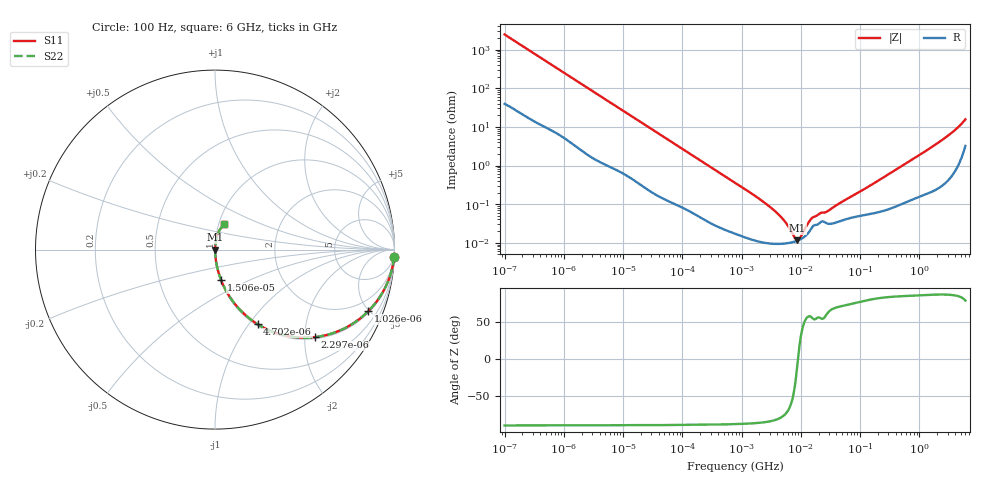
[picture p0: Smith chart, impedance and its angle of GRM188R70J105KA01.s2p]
!Murata Part Number: GRM188R70J105KA01
!These Parameters are Measured in Series Mode Connection
!Data Generated on Mar 30, 2021
!  o--ll--o
!Port1  Port2
!  o------o
!Operation Temp=25[degC], DC Bias Voltage=0[V]
!Freq. Start=100[Hz] Stop=6[GHz] 401[Steps]
# Hz S RI R 50
!Freq.(Hz) S11(Real) S11(Imag) S21(Real) S21(Imag) S12(Real) S12(Imag) S22(Real) S22(Imag)
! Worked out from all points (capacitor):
!   401 points, 100 Hz to 6 GHz, reference 50 ohm
!   read as one part in series: C = 641 nF near 109 Hz
!   lowest |Z| = 11.5 mohm at 8.692 MHz (marker M1)
!   series resonance near 8.963 MHz, so ESL is about 490 pH
!   S11 on the Smith chart (normalised r, x): 100 Hz: 2, -49; 1.026 kHz: 1.10, -4.96; 2.297 kHz: 1.04, -2.24; 4.702 kHz: 1.02, -1.10; 15.06 kHz: 1.01, -0.35; 6 GHz: 1.06, +0.31
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100  0.9977 -0.0403  0.00227 0.0403  0.00227 0.0403  0.9977 -0.0403
335  0.9802 -0.1307  0.0198 0.1307  0.0198 0.1307  0.9802 -0.1307
1026  0.8552 -0.3419  0.1448 0.3419  0.1448 0.3419  0.8552 -0.3419
2008  0.6182 -0.4765  0.3818 0.4765  0.3818 0.4765  0.6182 -0.4765
2297  0.555 -0.4878  0.445 0.4878  0.445 0.4878  0.555 -0.4878
4702  0.2369 -0.4153  0.7631 0.4153  0.7631 0.4153  0.2369 -0.4153
8047  0.1003 -0.2892  0.8997 0.2892  0.8997 0.2892  0.1003 -0.2892
15062  0.0335 -0.1684  0.9665 0.1684  0.9665 0.1684  0.0335 -0.1684
40335  0.00591 -0.0657  0.9941 0.0657  0.9941 0.0657  0.00591 -0.0657
774597  0.000184 -0.0036  0.9998 0.0036  0.9998 0.0036  0.000184 -0.0036
2074311  0.000106 -0.0013  0.9999 0.0013  0.9999 0.0013  0.000106 -0.0013
3712478  9.38e-05 -0.000642  0.9999 0.000642  0.9999 0.000642  9.38e-05 -0.000642
5311619  9.53e-05 -0.000352  0.9999 0.000352  0.9999 0.000352  9.53e-05 -0.000352
7947587  0.000108 -7.79e-05  0.9999 7.79e-05  0.9999 7.79e-05  0.000108 -7.79e-05
8692127  0.000113 -1.98e-05  0.9999 1.98e-05  0.9999 1.98e-05  0.000113 -1.98e-05
9941735  0.000124 6.81e-05  0.9999 -6.81e-05  0.9999 -6.81e-05  0.000124 6.81e-05
1.300572e7  0.00017 0.000253  0.9998 -0.000253  0.9998 -0.000253  0.00017 0.000253
1.555665e7  0.000253 0.000362  0.9997 -0.000362  0.9997 -0.000362  0.000253 0.000362
2.911731e7  0.00031 0.000597  0.9997 -0.000597  0.9997 -0.000597  0.00031 0.000597
3.124326e8  0.000785 0.00607  0.9992 -0.00607  0.9992 -0.00607  0.000785 0.00607
2.240541e9  0.00447 0.0417  0.9955 -0.0417  0.9955 -0.0417  0.00447 0.0417
6e9  0.0522 0.141  0.9478 -0.141  0.9478 -0.141  0.0522 0.141
